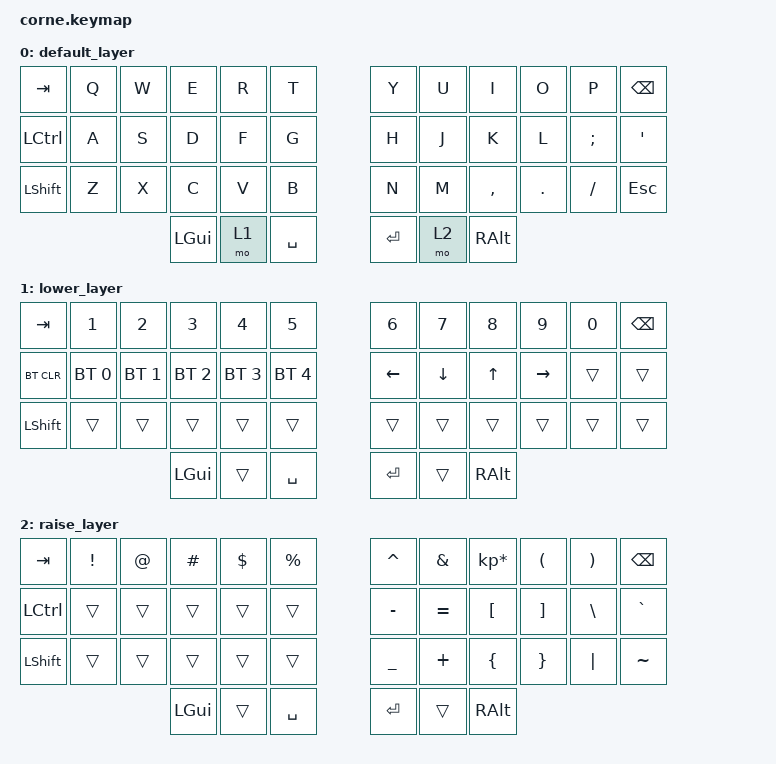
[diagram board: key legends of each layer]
/*
 * Copyright (c) 2020 The ZMK Contributors
 *
 * SPDX-License-Identifier: MIT
 */

#include <behaviors.dtsi>
#include <dt-bindings/zmk/keys.h>
#include <dt-bindings/zmk/bt.h>

/ {
        keymap {
                compatible = "zmk,keymap";

                default_layer {
// -----------------------------------------------------------------------------------------
// | ESC |  Q  |  W  |  E  |  R  |  T  |   |  Y  |  U   |  I  |  O  |  P  | BKSP |
// | TAB |  A  |  S  |  D  |  F  |  G  |   |  H  |  J   |  K  |  L  |  ;  |  '   |
// | SHFT|  Z  |  X  |  C  |  V  |  B  |   |  N  |  M   |  ,  |  .  |  /  | TAB  |
//                    | CTRL | LWR | ENT |   | SPC | RSE  | ALT |
                        bindings = <
   &kp ESC   &kp Q &kp W &kp E &kp R &kp T   &kp Y &kp U  &kp I     &kp O   &kp P    &kp BSPC
   &kp TAB   &kp A &kp S &kp D &kp F &kp G   &kp H &kp J  &kp K     &kp L   &kp SEMI &kp SQT
   &kp LSHFT &kp Z &kp X &kp C &kp V &kp B   &kp N &kp M  &kp COMMA &kp DOT &kp FSLH &kp ESC
                  &kp LCTRL &kt 1 &kp RET   &kp SPACE &kt 2 &kp RALT
                        >;
                };
                lower_layer {
// -----------------------------------------------------------------------------------------
// |  ESC |  +  |  1  |  2  |  3  |  *  |   | BT1 |     |  UP |     |     | BKSP |
// | TAB  | -   |  4  |  5  |  6  |  /  |   | BT2 | LFT |DOWN | RGT |     |      |
// | SHFT |  0  |  7  |  8  |  9  |  .  |   | BT3 |     |     |     |     |      |
//                    | CTRL|     | ENT |   | SPC |     | ALT |
                        bindings = <
   &kp ESC    &kp PLUS    &kp N1   &kp N2    &kp N3    &kp KP_MULTIPLY  &bt BT_SEL 1   &trans    &kp UP    &trans     &trans  &kp BSPC
   &kp TAB    &kp MINUS   &kp N4   &kp N5    &kp N6    &kp FSLH         &bt BT_SEL 2   &kp LEFT  &kp DOWN  &kp RIGHT  &trans  &trans
   &kp LSHFT  &kp N0      &kp N7   &kp N8    &kp N9    &kp DOT          &bt BT_SEL 3   &trans    &trans    &trans     &trans  &trans
                          	   &kp LCTRL  &trans    &kp RET        &kp SPACE  &trans   &kp RALT
                        >;
                };

                raise_layer {
// -----------------------------------------------------------------------------------------
// |  ESC |  !  |  @  |  #  |  $  |  %  |   |  ^  |  &  |  *  |  (  |  )  | BKSP |
// | TAB  |     |     |     |     |     |   |  -  |  =  |  [  |  ]  |  \  |  `   |
// | SHFT |     |     |     |     |     |   |  _  |  +  |  {  |  }  | "|" |  ~   |
//                    | CTRL|     | ENT |   | SPC |     | ALT |
                        bindings = <
   &kp  TAB  &kp EXCL &kp AT &kp HASH &kp DLLR &kp PRCNT   &kp CARET &kp AMPS  &kp KP_MULTIPLY &kp LPAR &kp RPAR &kp BSPC
   &kp LCTRL &trans   &trans &trans   &trans   &trans      &kp MINUS &kp EQUAL &kp LBKT        &kp RBKT &kp BSLH &kp GRAVE
   &kp LSHFT &trans   &trans &trans   &trans   &trans      &kp UNDER &kp PLUS  &kp LBRC        &kp RBRC &kp PIPE &kp TILDE
                    	     &kp LCTRL &trans   &kp RET   &kp SPACE   &trans    &kp RALT
                        >;
                };
        };
};
/ {
        keymap {
                compatible = "zmk,keymap";

                default_layer {
// -----------------------------------------------------------------------------------------
// |  TAB |  Q  |  W  |  E  |  R  |  T  |   |  Y  |  U   |  I  |  O  |  P  | BKSP |
// | CTRL |  A  |  S  |  D  |  F  |  G  |   |  H  |  J   |  K  |  L  |  ;  |  '   |
// | SHFT |  Z  |  X  |  C  |  V  |  B  |   |  N  |  M   |  ,  |  .  |  /  | ESC  |
//                    | GUI | LWR | SPC |   | ENT | RSE  | ALT |
                        bindings = <
   &kp TAB   &kp Q &kp W &kp E &kp R &kp T   &kp Y &kp U  &kp I     &kp O   &kp P    &kp BSPC
   &kp LCTRL &kp A &kp S &kp D &kp F &kp G   &kp H &kp J  &kp K     &kp L   &kp SEMI &kp SQT
   &kp LSHFT &kp Z &kp X &kp C &kp V &kp B   &kp N &kp M  &kp COMMA &kp DOT &kp FSLH &kp ESC
                  &kp LGUI &mo 1 &kp SPACE   &kp RET &mo 2 &kp RALT
                        >;
                };
                lower_layer {
// -----------------------------------------------------------------------------------------
// |  TAB |  1  |  2  |  3  |  4  |  5  |   |  6  |  7  |  8  |  9  |  0  | BKSP |
// | BTCLR| BT1 | BT2 | BT3 | BT4 | BT5 |   | LFT | DWN |  UP | RGT |     |      |
// | SHFT |     |     |     |     |     |   |     |     |     |     |     |      |
//                    | GUI |     | SPC |   | ENT |     | ALT |
                        bindings = <
   &kp TAB    &kp N1       &kp N2       &kp N3       &kp N4       &kp N5         &kp N6   &kp N7   &kp N8 &kp N9    &kp N0 &kp BSPC
   &bt BT_CLR &bt BT_SEL 0 &bt BT_SEL 1 &bt BT_SEL 2 &bt BT_SEL 3 &bt BT_SEL 4   &kp LEFT &kp DOWN &kp UP &kp RIGHT &trans &trans
   &kp LSHFT  &trans       &trans       &trans       &trans       &trans         &trans   &trans   &trans &trans    &trans &trans
                          	        &kp LGUI     &trans       &kp SPACE      &kp RET  &trans   &kp RALT
                        >;
                };

                raise_layer {
// -----------------------------------------------------------------------------------------
// |  TAB |  !  |  @  |  #  |  $  |  %  |   |  ^  |  &  |  *  |  (  |  )  | BKSP |
// | CTRL |     |     |     |     |     |   |  -  |  =  |  [  |  ]  |  \  |  `   |
// | SHFT |     |     |     |     |     |   |  _  |  +  |  {  |  }  | "|" |  ~   |
//                    | GUI |     | SPC |   | ENT |     | ALT |
                        bindings = <
   &kp  TAB  &kp EXCL &kp AT &kp HASH &kp DLLR &kp PRCNT   &kp CARET &kp AMPS  &kp KP_MULTIPLY &kp LPAR &kp RPAR &kp BSPC
   &kp LCTRL &trans   &trans &trans   &trans   &trans      &kp MINUS &kp EQUAL &kp LBKT        &kp RBKT &kp BSLH &kp GRAVE
   &kp LSHFT &trans   &trans &trans   &trans   &trans      &kp UNDER &kp PLUS  &kp LBRC        &kp RBRC &kp PIPE &kp TILDE
                    	     &kp LGUI &trans   &kp SPACE   &kp RET   &trans    &kp RALT
                        >;
                };
        };
};
